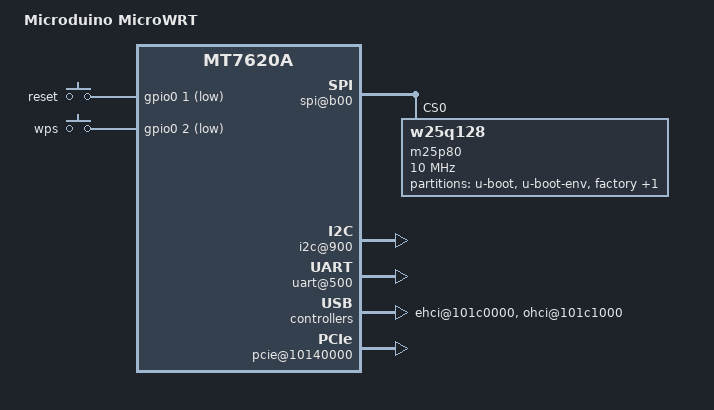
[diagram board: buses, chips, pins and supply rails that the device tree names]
/dts-v1/;

/include/ "mt7620a.dtsi"

/ {
	compatible = "microwrt", "ralink,mt7620a-soc";
	model = "Microduino MicroWRT";

	chosen {
		bootargs = "console=ttyS1,115200";
	};

	palmbus@10000000 {
		gpio2: gpio@660 {
			status = "okay";
		};

		gpio3: gpio@688 {
			status = "okay";
		};

		spi@b00 {
			status = "okay";

			m25p80@0 {
				#address-cells = <1>;
				#size-cells = <1>;
				compatible = "w25q128";
				reg = <0 0>;
				linux,modalias = "m25p80", "w25q128";
				spi-max-frequency = <10000000>;

				partition@0 {
					label = "u-boot";
					reg = <0x0 0x20000>;
					read-only;
				};

				partition@20000 {
					label = "u-boot-env";
					reg = <0x20000 0x10000>;
					read-only;
				};

				factory: partition@30000 {
					label = "factory";
					reg = <0x30000 0x10000>;
					read-only;
				};

				partition@40000 {
					label = "firmware";
					reg = <0x40000 0xfc0000>;
				};
			};
		};
		i2c@900 {
            		compatible = "ralink,mt7620n-i2c", "ralink,rt2880-i2c";
            		reg = <0x900 0x100>;
                        resets = <&rstctrl 16>;
            		reset-names = "i2c";
            		#address-cells = <1>;
            		#size-cells = <0>;
            		pinctrl-names = "default";
            		pinctrl-0 = <&i2c_pins>;
            		status = "okay";
        	};

                uart@500 {
			pinctrl-names = "default";
			pinctrl-0 = <&uartf_gpio_pins>;
			status = "okay";
                };
	};

	ehci@101c0000 {
		status = "okay";
	};

	ohci@101c1000 {
		status = "okay";
	};

	pcie@10140000 {
		status = "okay";
	};

	ethernet@10100000 {
		pinctrl-names = "default";
		pinctrl-0 = <&ephy_pins>;
		mtd-mac-address = <&factory 0x4>;
		ralink,port-map = "llllw";
	};

	gsw@10110000 {
		ralink,port4 = "ephy";
	};

	wmac@10180000 {
		ralink,mtd-eeprom = <&factory 0>;
	};

	pinctrl {
		state_default: pinctrl0 {
			default {
				ralink,group = "wled", "i2c", "wdt", "uartf";
				ralink,function = "gpio";
			};
			i2c_pins{
                                ralink,group = "i2c";
                                ralink,function = "i2c";
			};	
		};
	};

	gpio-keys-polled {
		compatible = "gpio-keys-polled";
		#address-cells = <1>;
		#size-cells = <0>;
		poll-interval = <20>;
		reset {
			label = "reset";
			gpios = <&gpio0 1 1>;
			linux,code = <0x198>;
		};
		wps {
			label = "wps";
			gpios = <&gpio0 2 1>;
			linux,code = <0x211>;
		};
	};
   };
